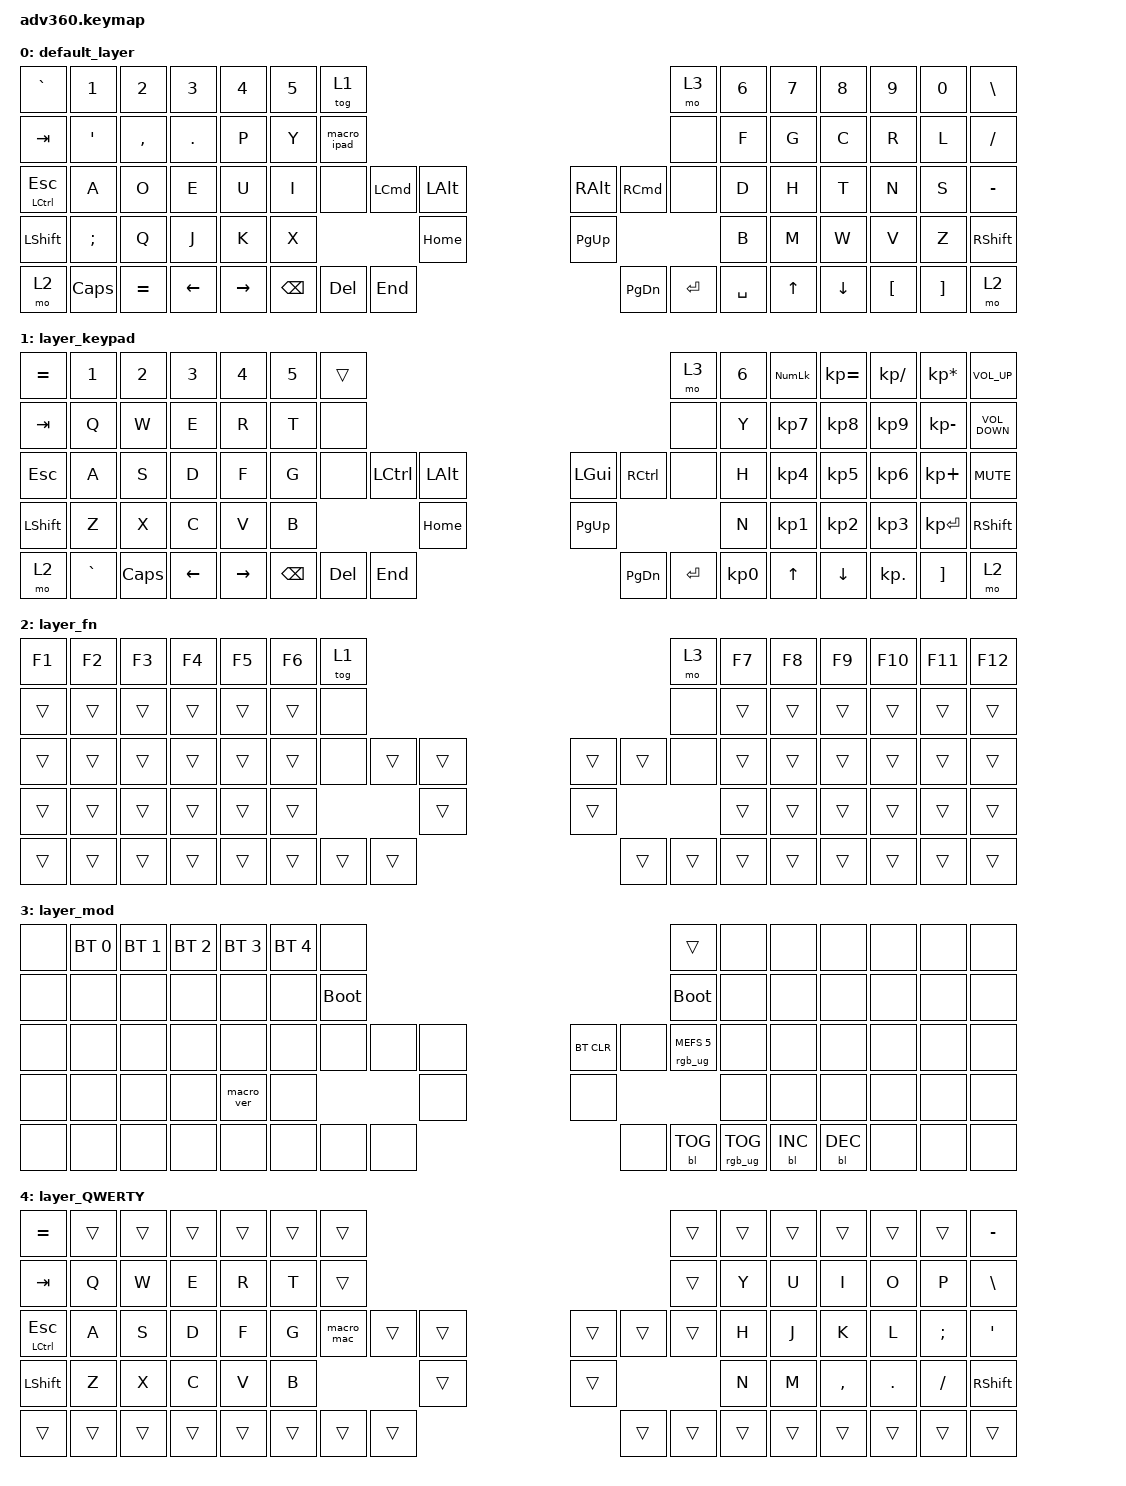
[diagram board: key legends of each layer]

/*
 * Copyright (c) 2020 The ZMK Contributors
 *
 * SPDX-License-Identifier: MIT
 */


/* THIS FILE WAS GENERATED!
 *
 * This file was generated automatically. You may or may not want to
 * edit it directly.
 */

#include <behaviors.dtsi>
#include <dt-bindings/zmk/keys.h>
#include <dt-bindings/zmk/bt.h>
#include <dt-bindings/zmk/rgb.h>
#include <dt-bindings/zmk/backlight.h>

/ {
  behaviors {
    #include "macros.dtsi"
    #include "version.dtsi"

    hm: homerow_mods {
        compatible = "zmk,behavior-hold-tap";
        label = "HOMEROW_MODS";
        #binding-cells = <2>;
        tapping-term-ms = <200>;
        quick_tap_ms = <175>;
        flavor = "tap-preferred";
        bindings = <&kp>, <&kp>;
    };
  };

    keymap {
        compatible = "zmk,keymap";


        default_layer {
            bindings = <
        &kp GRAVE            &kp N1     &kp N2      &kp N3     &kp N4  &kp N5                 &tog 1                                                                                        &mo 3  &kp N6  &kp N7    &kp N8    &kp N9    &kp N0  &kp BACKSLASH
          &kp TAB  &kp SINGLE_QUOTE  &kp COMMA  &kp PERIOD      &kp P   &kp Y            &macro_ipad                                                                                        &none   &kp F   &kp G     &kp C     &kp R     &kp L      &kp SLASH
 &mt LCTRL ESCAPE             &kp A      &kp O       &kp E      &kp U   &kp I                  &none  &kp LEFT_COMMAND  &kp LEFT_ALT                  &kp RIGHT_ALT  &kp RIGHT_COMMAND      &none   &kp D   &kp H     &kp T     &kp N     &kp S      &kp MINUS
        &kp LSHFT     &kp SEMICOLON      &kp Q       &kp J      &kp K   &kp X                                               &kp HOME                      &kp PG_UP                                 &kp B   &kp M     &kp W     &kp V     &kp Z      &kp RSHFT
            &mo 2          &kp CAPS  &kp EQUAL    &kp LEFT  &kp RIGHT                       &kp BSPC           &kp DEL       &kp END                      &kp PG_DN          &kp ENTER  &kp SPACE          &kp UP  &kp DOWN  &kp LBKT  &kp RBKT          &mo 2
            >;
        };

        layer_keypad {
            bindings = <
 &kp EQUAL     &kp N1    &kp N2    &kp N3     &kp N4  &kp N5              &trans                                                                 &mo 3  &kp N6  &kp KP_NUM  &kp KP_EQUAL  &kp KP_DIVIDE  &kp KP_MULTIPLY    &kp C_VOLUME_UP
   &kp TAB      &kp Q     &kp W     &kp E      &kp R   &kp T               &none                                                                 &none   &kp Y   &kp KP_N7     &kp KP_N8      &kp KP_N9     &kp KP_MINUS  &kp C_VOLUME_DOWN
   &kp ESC      &kp A     &kp S     &kp D      &kp F   &kp G               &none  &kp LCTRL  &kp LALT                   &kp LGUI  &kp RCTRL      &none   &kp H   &kp KP_N4     &kp KP_N5      &kp KP_N6      &kp KP_PLUS         &kp C_MUTE
 &kp LSHFT      &kp Z     &kp X     &kp C      &kp V   &kp B                                 &kp HOME                  &kp PG_UP                         &kp N   &kp KP_N1     &kp KP_N2      &kp KP_N3     &kp KP_ENTER          &kp RSHFT
     &mo 2  &kp GRAVE  &kp CAPS  &kp LEFT  &kp RIGHT                    &kp BSPC    &kp DEL   &kp END                  &kp PG_DN  &kp ENTER  &kp KP_N0              &kp UP      &kp DOWN     &kp KP_DOT         &kp RBKT              &mo 2
            >;
        };

        layer_fn {
            bindings = <
 &kp F1  &kp F2  &kp F3  &kp F4  &kp F5  &kp F6            &tog 1                                                   &mo 3  &kp F7  &kp F8  &kp F9  &kp F10  &kp F11  &kp F12
 &trans  &trans  &trans  &trans  &trans  &trans             &none                                                   &none  &trans  &trans  &trans   &trans   &trans   &trans
 &trans  &trans  &trans  &trans  &trans  &trans             &none  &trans  &trans                  &trans  &trans   &none  &trans  &trans  &trans   &trans   &trans   &trans
 &trans  &trans  &trans  &trans  &trans  &trans                            &trans                  &trans                  &trans  &trans  &trans   &trans   &trans   &trans
 &trans  &trans  &trans  &trans  &trans                    &trans  &trans  &trans                  &trans  &trans  &trans          &trans  &trans   &trans   &trans   &trans
            >;
        };

        layer_mod {
            bindings = <
  &none  &bt BT_SEL 0  &bt BT_SEL 1  &bt BT_SEL 2  &bt BT_SEL 3  &bt BT_SEL 4                  &none                                                                          &trans   &none       &none       &none   &none   &none   &none
  &none         &none         &none         &none         &none         &none            &bootloader                                                                     &bootloader   &none       &none       &none   &none   &none   &none
  &none         &none         &none         &none         &none         &none                  &none   &none   &none                  &bt BT_CLR       &none  &rgb_ug RGB_MEFS_CMD 5   &none       &none       &none   &none   &none   &none
  &none         &none         &none         &none    &macro_ver         &none                                  &none                       &none                                       &none       &none       &none   &none   &none   &none
  &none         &none         &none         &none         &none                                &none   &none   &none                       &none  &bl BL_TOG         &rgb_ug RGB_TOG          &bl BL_INC  &bl BL_DEC   &none   &none   &none
            >;
        };

        layer_QWERTY {
            bindings = <
               &kp EQUAL  &trans  &trans  &trans  &trans  &trans                &trans                                                  &trans  &trans  &trans     &trans      &trans         &trans         &kp MINUS
                 &kp TAB   &kp Q   &kp W   &kp E   &kp R   &kp T                &trans                                                  &trans   &kp Y   &kp U      &kp I       &kp O          &kp P     &kp BACKSLASH
 &mt LEFT_CONTROL ESCAPE   &kp A   &kp S   &kp D   &kp F   &kp G            &macro_mac  &trans  &trans                  &trans  &trans  &trans   &kp H   &kp J      &kp K       &kp L  &kp SEMICOLON  &kp SINGLE_QUOTE
          &kp LEFT_SHIFT   &kp Z   &kp X   &kp C   &kp V   &kp B                                &trans                  &trans                   &kp N   &kp M  &kp COMMA  &kp PERIOD      &kp SLASH   &kp RIGHT_SHIFT
                  &trans  &trans  &trans  &trans  &trans                        &trans  &trans  &trans                  &trans  &trans  &trans          &trans     &trans      &trans         &trans            &trans
            >;
        };

    };
};
